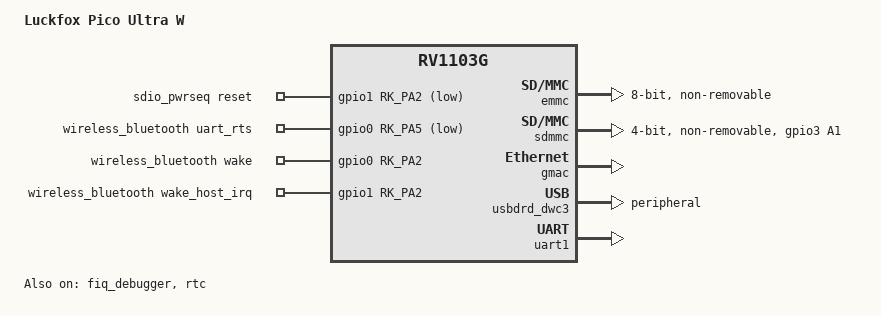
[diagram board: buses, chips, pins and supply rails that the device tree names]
// SPDX-License-Identifier: (GPL-2.0+ OR MIT)
/*
 * Copyright (c) 2022 Rockchip Electronics Co., Ltd.
 */

/dts-v1/;
#include "rv1106.dtsi"
#include "rv1106-luckfox-pico-ultra-ipc.dtsi"
#include <dt-bindings/input/input.h>
#include <dt-bindings/display/media-bus-format.h>

/ {
	model = "Luckfox Pico Ultra W";
	compatible = "rockchip,rv1103g-38x38-ipc-v10", "rockchip,rv1106g3";

	restart-poweroff {
		compatible = "restart-poweroff";
	};

	sdio_pwrseq: sdio-pwrseq {
		compatible = "mmc-pwrseq-simple";
		pinctrl-names = "default";
		reset-gpios = <&gpio1 RK_PA2 GPIO_ACTIVE_LOW>;
	};

  wireless_bluetooth: wireless-bluetooth {
    compatible = "bluetooth-platdata";
    uart_rts_gpios = <&gpio0 RK_PA5 GPIO_ACTIVE_LOW>;
    pinctrl-names = "default", "rts_gpio";
    pinctrl-0 = <&uart1m0_rtsn>;
    pinctrl-1 = <&uart1_gpios>;
    BT,wake_gpio     = <&gpio0 RK_PA2 GPIO_ACTIVE_HIGH>;
    BT,wake_host_irq = <&gpio1 RK_PA2 GPIO_ACTIVE_HIGH>;
    status = "okay";
  };
};

/**********CRU**********/
//&cru {
//	assigned-clocks =
//		<&cru PLL_GPLL>, <&cru PLL_CPLL>,
//		<&cru ARMCLK>,
//		<&cru ACLK_PERI_ROOT>, <&cru HCLK_PERI_ROOT>,
//		<&cru PCLK_PERI_ROOT>, <&cru ACLK_BUS_ROOT>,
//		<&cru PCLK_TOP_ROOT>, <&cru PCLK_PMU_ROOT>,
//		<&cru HCLK_PMU_ROOT>, <&cru CLK_500M_SRC>;
//	assigned-clock-rates =
//		<1188000000>, <700000000>,
//		<1104000000>,
//		<400000000>, <200000000>,
//		<100000000>, <300000000>,
//		<100000000>, <100000000>,
//		<200000000>, <700000000>;
//};

/**********NPU**********/
//&npu {
//	assigned-clock-rates = <700000000>;
//};

/**********EMMC**********/
&emmc {
	bus-width = <8>;
	cap-mmc-highspeed;
	non-removable;
	// mmc-hs200-1_8v;
	rockchip,default-sample-phase = <90>;
	no-sdio;
	no-sd;
	memory-region-ecsd = <&mmc_ecsd>;
	post-power-on-delay-ms = <0>;
	status = "okay";
};

&fiq_debugger {
	rockchip,irq-mode-enable = <1>;
	status = "okay";
};

/**********SDIO-WIFI**********/
&sdmmc {
        max-frequency = <50000000>;
        bus-width = <4>;
        cap-sd-highspeed;
        cap-sdio-irq;
        keep-power-in-suspend;
        non-removable;
        rockchip,default-sample-phase = <90>;
        // no-sd;
        // no-mmc;
        supports-sdio;
        mmc-pwrseq = <&sdio_pwrseq>;
        pinctrl-names = "default";
        pinctrl-0 = <&sdmmc0_clk &sdmmc0_cmd &sdmmc0_bus4 &sdmmc0_det>;
        status = "okay";
};

&pinctrl{
	sdmmc0{
		sdmmc0_det: sdmmc0-det {
			rockchip,pins =
				/* sdmmc0_det */
				<3 RK_PA1 1 &pcfg_pull_down>;
		};
  };
};


/**********ETH**********/
&gmac {
	status = "okay";
};

/**********USB**********/
&usbdrd_dwc3 {
	status = "okay";
	dr_mode = "peripheral";
  #dr_mode = "host";
};

/**********RTC**********/
&rtc {
	status = "okay";
};

/**********BT**********/
&uart1 {
	status = "okay";
	pinctrl-names = "default";
	pinctrl-0 = <&uart1m0_xfer &uart1m0_ctsn>;
};

&pinctrl {
  wireless-bluetooth {
    uart1_gpios: uart1-gpios {
      rockchip,pins = <0 RK_PA5 RK_FUNC_GPIO &pcfg_pull_none>;
    };
  };
};

/**********SPI**********/
&spi0 {
	status = "disabled";
	spidev@0 {
		spi-max-frequency = <50000000>;
	};
};
